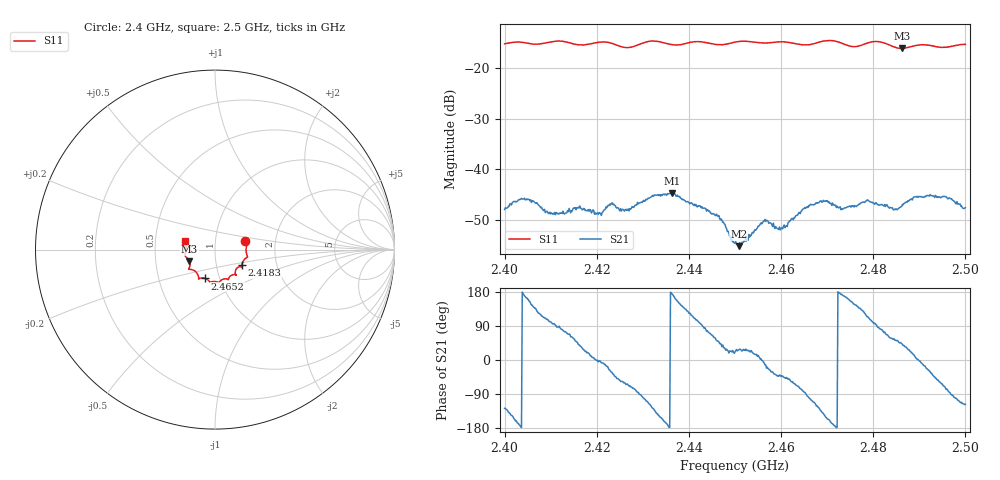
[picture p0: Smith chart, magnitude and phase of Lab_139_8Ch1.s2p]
# Hz S RI R 50
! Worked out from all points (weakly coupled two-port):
!   601 points, 2.4 GHz to 2.5 GHz, reference 50 ohm
!   highest |S21| = -44.68 dB at 2.4363 GHz (marker M1); lowest = -55.2 dB at 2.4508 GHz (marker M2)
!   lowest |S11| = -16.1 dB at 2.4862 GHz (marker M3), VSWR 1.37, Z = 37.2 - j4.89 ohm
!   |S11| at or under -10 dB: start of sweep to end of sweep
!   S12 and S22 are empty: the file has one direction only
!   S11 on the Smith chart (normalised r, x): 2.4 GHz: 1.40, +0.13; 2.4183 GHz: 1.33, -0.24; 2.4652 GHz: 0.85, -0.28; 2.5 GHz: 0.71, +0.07
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2.4e9  0.1682 0.0468  -0.00244 -0.00317  0 0  0 0
2.403833e9  0.1784 0.0276  -0.0051 8.23e-05  0 0  0 0
2.41e9  0.179 -0.0334  -0.000657 0.00357  0 0  0 0
2.416667e9  0.1555 -0.0682  0.00338 0.00231  0 0  0 0
2.418333e9  0.1501 -0.0866  0.00368 0.00113  0 0  0 0
2.420833e9  0.1516 -0.0997  0.00367 -0.000289  0 0  0 0
2.423333e9  0.1472 -0.0967  0.0039 -0.00256  0 0  0 0
2.4265e9  0.122 -0.1034  0.00171 -0.00354  0 0  0 0
2.433333e9  0.1171 -0.1414  -0.00463 -0.00319  0 0  0 0
2.436333e9  0.0973 -0.1408  -0.0058 0.000602  0 0  0 0
2.4465e9  0.0494 -0.1635  0.00234 0.0026  0 0  0 0
2.45e9  0.0259 -0.1795  0.00173 0.000664  0 0  0 0
2.450833e9  0.0233 -0.1825  0.00155 0.000785  0 0  0 0
2.456e9  -0.00027 -0.1778  0.00297 -0.000123  0 0  0 0
2.459833e9  -0.0262 -0.1807  0.00192 -0.00163  0 0  0 0
2.465167e9  -0.0544 -0.161  0.000318 -0.00419  0 0  0 0
2.466667e9  -0.0706 -0.1578  -0.00132 -0.00426  0 0  0 0
2.478833e9  -0.1401 -0.11  -0.00204 0.00454  0 0  0 0
2.483333e9  -0.1414 -0.0965  0.00198 0.00374  0 0  0 0
2.486167e9  -0.1432 -0.0641  0.00311 0.00297  0 0  0 0
2.492167e9  -0.1666 -0.0264  0.00475 -0.00266  0 0  0 0
2.5e9  -0.1654 0.0472  -0.0019 -0.00373  0 0  0 0
